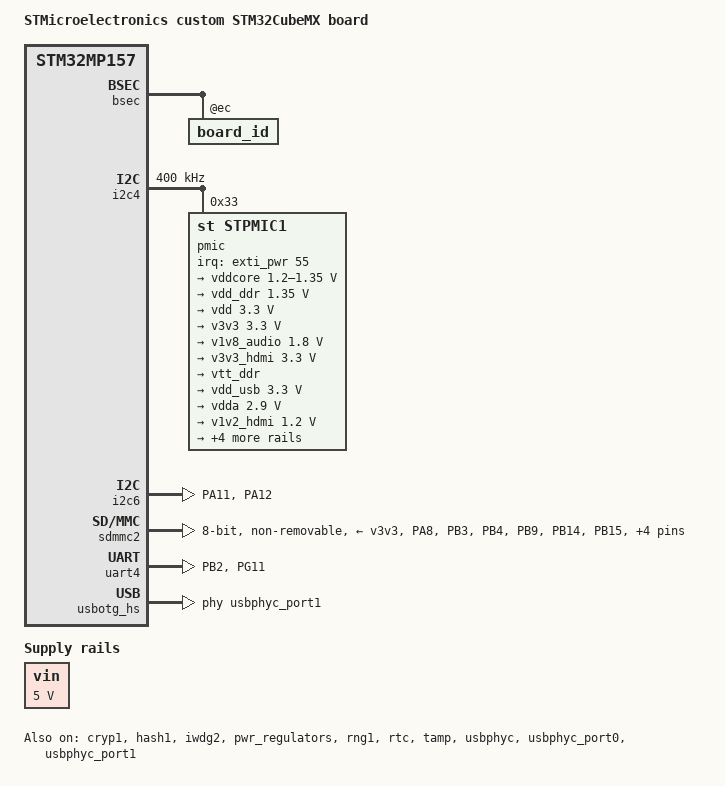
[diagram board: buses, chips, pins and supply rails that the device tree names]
/* SPDX-License-Identifier: (GPL-2.0+ OR BSD-3-Clause) */
/*
 * Copyright (C) STMicroelectronics 2022 - All Rights Reserved
 * Author: STM32CubeMX code generation for STMicroelectronics.
 */

/* For more information on Device Tree configuration, please refer to
 * https://wiki.st.com/stm32mpu/wiki/Category:Device_tree_configuration
 */

/dts-v1/;
#include <dt-bindings/pinctrl/stm32-pinfunc.h>
#include <dt-bindings/clock/stm32mp1-clksrc.h>
#include <dt-bindings/soc/st,stm32-etzpc.h>
#include "stm32mp15-mx.dtsi"

#include "stm32mp157.dtsi"
#include "stm32mp15xc.dtsi"
#include "stm32mp15xxac-pinctrl.dtsi"
#include "stm32mp15-ddr.dtsi"

/* USER CODE BEGIN includes */
#include <dt-bindings/power/stm32mp1-power.h>
/* USER CODE END includes */

/ {
	model = "STMicroelectronics custom STM32CubeMX board";
	compatible = "st,stm32mp157c-v510-dsi-emmc-mx", "st,stm32mp157";

	/* USER CODE BEGIN root */

	vin:vin{
		compatible = "regulator-fixed";
		regulator-name = "vin";
		regulator-min-microvolt = <5000000>;
		regulator-max-microvolt = <5000000>;
		regulator-always-on;
	};
	
	aliases{
		serial0 = &uart4;
		serial1 = &uart5;
		serial2 = &uart7;
	};

	chosen{
		stdout-path = "serial0:115200n8";
	};	

	/* USER CODE END root */

	clocks {
		/* USER CODE BEGIN clocks */
		/* USER CODE END clocks */

		clk_lse: clk-lse {

			/* USER CODE BEGIN clk_lse */
			/* USER CODE END clk_lse */
		};

		clk_hse: clk-hse {
			st,digbypass;

			/* USER CODE BEGIN clk_hse */
			/* USER CODE END clk_hse */
		};
	};

}; /*root*/

&pinctrl {
	i2c6_pins_mx: i2c6_mx-0 {
		pins {
			pinmux = <STM32_PINMUX('A', 11, AF2)>, /* I2C6_SCL */
					 <STM32_PINMUX('A', 12, AF2)>; /* I2C6_SDA */
			bias-disable;
			drive-open-drain;
			slew-rate = <0>;
		};
	};

	sdmmc2_pins_mx: sdmmc2_mx-0 {
		pins1 {
			pinmux = <STM32_PINMUX('A', 8, AF9)>, /* SDMMC2_D4 */
					 <STM32_PINMUX('B', 3, AF9)>, /* SDMMC2_D2 */
					 <STM32_PINMUX('B', 4, AF9)>, /* SDMMC2_D3 */
					 <STM32_PINMUX('B', 9, AF10)>, /* SDMMC2_D5 */
					 <STM32_PINMUX('B', 14, AF9)>, /* SDMMC2_D0 */
					 <STM32_PINMUX('B', 15, AF9)>, /* SDMMC2_D1 */
					 <STM32_PINMUX('C', 7, AF10)>, /* SDMMC2_D7 */
					 <STM32_PINMUX('E', 5, AF9)>, /* SDMMC2_D6 */
					 <STM32_PINMUX('G', 6, AF10)>; /* SDMMC2_CMD */
			bias-pull-up;
			drive-push-pull;
			slew-rate = <3>;
		};
		pins2 {
			pinmux = <STM32_PINMUX('E', 3, AF9)>; /* SDMMC2_CK */
			bias-pull-up;
			drive-push-pull;
			slew-rate = <3>;
		};
	};

	uart4_pins_mx: uart4_mx-0 {
		pins1 {
			pinmux = <STM32_PINMUX('B', 2, AF8)>; /* UART4_RX */
			bias-disable;
		};
		pins2 {
			pinmux = <STM32_PINMUX('G', 11, AF6)>; /* UART4_TX */
			bias-disable;
			drive-push-pull;
			slew-rate = <0>;
		};
	};

	/* USER CODE BEGIN pinctrl */
	/* USER CODE END pinctrl */
};

&pinctrl_z {
	i2c4_pins_z_mx: i2c4_mx-0 {
		pins {
			pinmux = <STM32_PINMUX('Z', 4, AF6)>, /* I2C4_SCL */
					 <STM32_PINMUX('Z', 5, AF6)>; /* I2C4_SDA */
			bias-disable;
			drive-open-drain;
			slew-rate = <0>;
		};
	};

	/* USER CODE BEGIN pinctrl_z */
	/* USER CODE END pinctrl_z */
};

&rcc {
	st,csi-cal;
	st,hsi-cal;
	st,cal-sec = <60>;
	st,clksrc = <
		CLK_MPU_PLL1P
		CLK_AXI_HSI
		CLK_MCU_HSI
		CLK_PLL12_HSI
		CLK_PLL3_HSI
		CLK_PLL4_HSI
		CLK_RTC_LSI
		CLK_MCO1_DISABLED
		CLK_MCO2_DISABLED
	>;
	st,clkdiv = <
		1 		/*MPU*/
		0 		/*AXI*/
		0 		/*MCU*/
		0 		/*APB1*/
		0 		/*APB2*/
		0 		/*APB3*/
		0 		/*APB4*/
		0 		/*APB5*/
		0 		/*RTC*/
		0 		/*MCO1*/
		0 		/*MCO2*/
	>;
	st,pkcs = <
		CLK_CKPER_DISABLED
		CLK_ETH_PLL4P
		CLK_SDMMC12_HCLK6
		CLK_DSI_DSIPLL
		CLK_STGEN_HSI
		CLK_USBPHY_HSE
		CLK_SPI2S1_DISABLED
		CLK_SPI2S23_DISABLED
		CLK_SPI45_DISABLED
		CLK_SPI6_DISABLED
		CLK_I2C46_PCLK5
		CLK_SDMMC3_DISABLED
		CLK_USBO_PLL4R
		CLK_ADC_DISABLED
		CLK_CEC_DISABLED
		CLK_I2C12_DISABLED
		CLK_I2C35_DISABLED
		CLK_UART1_DISABLED
		CLK_UART24_PCLK1
		CLK_UART35_PCLK1
		CLK_UART6_DISABLED
		CLK_UART78_PCLK1
		CLK_SPDIF_DISABLED
		CLK_SAI1_DISABLED
		CLK_SAI2_DISABLED
		CLK_SAI3_DISABLED
		CLK_SAI4_DISABLED
		CLK_RNG1_CSI
		CLK_LPTIM1_DISABLED
		CLK_LPTIM23_PCLK3
		CLK_LPTIM45_DISABLED
	>;
	pll2:st,pll@1 {
		compatible = "st,stm32mp1-pll";
		reg = <1>;
		cfg = < 3 32 1 0 0 PQR(0,1,1) >;
		frac = < 0xa00 >;
	};
	pll4:st,pll@3 {
		compatible = "st,stm32mp1-pll";
		reg = <3>;
		cfg = < 3 24 3 4 0 PQR(1,1,1) >;
	};
};

&bsec{
	status = "okay";
	secure-status = "okay";

	/* USER CODE BEGIN bsec */

	board_id:board_id@ec{
		reg = <0xec 0x4>;
		st,non-secure-otp;
	};
	/* USER CODE END bsec */
};

&cryp1{
	status = "okay";

	/* USER CODE BEGIN cryp1 */
	/* USER CODE END cryp1 */
};

&etzpc{
	st,decprot = <
	/*"Non Secured" peripherals*/
	DECPROT(STM32MP1_ETZPC_CRYP1_ID, DECPROT_NS_RW, DECPROT_UNLOCK)
	DECPROT(STM32MP1_ETZPC_DMA1_ID, DECPROT_NS_RW, DECPROT_UNLOCK)
	DECPROT(STM32MP1_ETZPC_DMAMUX_ID, DECPROT_NS_RW, DECPROT_UNLOCK)
	DECPROT(STM32MP1_ETZPC_ETH_ID, DECPROT_NS_RW, DECPROT_UNLOCK)
	DECPROT(STM32MP1_ETZPC_HASH1_ID, DECPROT_NS_RW, DECPROT_UNLOCK)
	DECPROT(STM32MP1_ETZPC_I2C4_ID, DECPROT_NS_RW, DECPROT_UNLOCK)
	DECPROT(STM32MP1_ETZPC_I2C6_ID, DECPROT_NS_RW, DECPROT_UNLOCK)
	DECPROT(STM32MP1_ETZPC_LPTIM2_ID, DECPROT_NS_RW, DECPROT_UNLOCK)
	DECPROT(STM32MP1_ETZPC_RNG1_ID, DECPROT_NS_RW, DECPROT_UNLOCK)
	DECPROT(STM32MP1_ETZPC_TIM13_ID, DECPROT_NS_RW, DECPROT_UNLOCK)
	DECPROT(STM32MP1_ETZPC_TIM2_ID, DECPROT_NS_RW, DECPROT_UNLOCK)
	DECPROT(STM32MP1_ETZPC_TIM3_ID, DECPROT_NS_RW, DECPROT_UNLOCK)
	DECPROT(STM32MP1_ETZPC_TIM4_ID, DECPROT_NS_RW, DECPROT_UNLOCK)
	DECPROT(STM32MP1_ETZPC_UART4_ID, DECPROT_NS_RW, DECPROT_UNLOCK)
	DECPROT(STM32MP1_ETZPC_UART5_ID, DECPROT_NS_RW, DECPROT_UNLOCK)
	DECPROT(STM32MP1_ETZPC_UART7_ID, DECPROT_NS_RW, DECPROT_UNLOCK)
	DECPROT(STM32MP1_ETZPC_OTG_ID, DECPROT_NS_RW, DECPROT_UNLOCK)
	/*"Secured" peripherals*/
	DECPROT(STM32MP1_ETZPC_DDRCTRL_ID, DECPROT_S_RW, DECPROT_UNLOCK)
	DECPROT(STM32MP1_ETZPC_DDRPHYC_ID, DECPROT_S_RW, DECPROT_UNLOCK)
	DECPROT(STM32MP1_ETZPC_STGENC_ID, DECPROT_S_RW, DECPROT_UNLOCK)
	/*"Mcu Isolation" peripherals*/
	DECPROT(STM32MP1_ETZPC_DMA2_ID, DECPROT_MCU_ISOLATION, DECPROT_UNLOCK)

	/*Restriction: following IDs are not managed  - please to use User-Section if needed:
		STM32MP1_ETZPC_SRAMx_ID, STM32MP1_ETZPC_RETRAM_ID, STM32MP1_ETZPC_BKPSRAM_ID*/

	/* USER CODE BEGIN etzpc_decprot */
		/*STM32CubeMX generates a basic and standard configuration for ETZPC.
		Additional device configurations can be added here if needed.
		"etzpc" node could be also overloaded in "addons" User-Section.*/
	/* USER CODE END etzpc_decprot */
	>;

	secure-status = "okay";

	/* USER CODE BEGIN etzpc */
	/* USER CODE END etzpc */
};

&hash1{
	status = "okay";

	/* USER CODE BEGIN hash1 */
	/* USER CODE END hash1 */
};

&i2c4{
	pinctrl-names = "default";
	pinctrl-0 = <&i2c4_pins_z_mx>;
	status = "okay";
	secure-status = "okay";

	/* USER CODE BEGIN i2c4 */
	i2c-scl-rising-time-ns = <185>;
	i2c-scl-falling-time-ns = <20>;
	clock-frequency = <400000>;

	pmic:stpmic@33{
		compatible = "st,stpmic1";
		reg = <0x33>;
		interrupts-extended = <&exti_pwr 55 IRQ_TYPE_EDGE_FALLING>;
		interrupt-controller;
		#interrupt-cells = <2>;
		status = "okay";
		secure-status = "okay";

		regulators{
			compatible = "st,stpmic1-regulators";
			buck1-supply = <&vin>;
			buck2-supply = <&vin>;
			buck3-supply = <&vin>;
			buck4-supply = <&vin>;
			ldo1-supply = <&v3v3>;
			ldo2-supply = <&vin>;
			ldo3-supply = <&vdd_ddr>;
			ldo4-supply = <&vin>;
			ldo5-supply = <&vin>;
			ldo6-supply = <&v3v3>;
			vref_ddr-supply = <&vin>;
			boost-supply = <&vin>;
			pwr_sw1-supply = <&bst_out>;
			pwr_sw2-supply = <&bst_out>;

			vddcore:buck1{
				regulator-name = "vddcore";
				regulator-min-microvolt = <1200000>;
				regulator-max-microvolt = <1350000>;
				regulator-always-on;
				regulator-initial-mode = <0>;
				regulator-over-current-protection;

				lp-stop{
					regulator-on-in-suspend;
					regulator-suspend-microvolt = <1200000>;
				};

				standby-ddr-sr{
					regulator-off-in-suspend;
				};

				standby-ddr-off{
					regulator-off-in-suspend;
				};
			};

			vdd_ddr:buck2{
				regulator-name = "vdd_ddr";
				regulator-min-microvolt = <1350000>;
				regulator-max-microvolt = <1350000>;
				regulator-always-on;
				regulator-initial-mode = <0>;
				regulator-over-current-protection;

				lp-stop{
					regulator-suspend-microvolt = <1350000>;
					regulator-on-in-suspend;
				};

				standby-ddr-sr{
					regulator-suspend-microvolt = <1350000>;
					regulator-on-in-suspend;
				};

				standby-ddr-off{
					regulator-off-in-suspend;
				};
			};

			vdd:buck3{
				regulator-name = "vdd";
				regulator-min-microvolt = <3300000>;
				regulator-max-microvolt = <3300000>;
				regulator-always-on;
				st,mask-reset;
				regulator-initial-mode = <0>;
				regulator-over-current-protection;

				lp-stop{
					regulator-suspend-microvolt = <3300000>;
					regulator-on-in-suspend;
				};

				standby-ddr-sr{
					regulator-suspend-microvolt = <3300000>;
					regulator-on-in-suspend;
				};

				standby-ddr-off{
					regulator-suspend-microvolt = <3300000>;
					regulator-on-in-suspend;
				};
			};

			v3v3:buck4{
				regulator-name = "v3v3";
				regulator-min-microvolt = <3300000>;
				regulator-max-microvolt = <3300000>;
				regulator-always-on;
				regulator-over-current-protection;
				regulator-initial-mode = <0>;

				lp-stop{
					regulator-suspend-microvolt = <3300000>;
					regulator-on-in-suspend;
				};

				standby-ddr-sr{
					regulator-off-in-suspend;
				};

				standby-ddr-off{
					regulator-off-in-suspend;
				};
			};

			v1v8_audio:ldo1{
				regulator-name = "v1v8_audio";
				regulator-min-microvolt = <1800000>;
				regulator-max-microvolt = <1800000>;
				regulator-always-on;

				standby-ddr-sr{
					regulator-off-in-suspend;
				};

				standby-ddr-off{
					regulator-off-in-suspend;
				};
			};

			v3v3_hdmi:ldo2{
				regulator-name = "v3v3_hdmi";
				regulator-min-microvolt = <3300000>;
				regulator-max-microvolt = <3300000>;
				regulator-always-on;

				standby-ddr-sr{
					regulator-off-in-suspend;
				};

				standby-ddr-off{
					regulator-off-in-suspend;
				};
			};

			vtt_ddr:ldo3{
				regulator-name = "vtt_ddr";
				regulator-always-on;
				regulator-over-current-protection;
				st,regulator-sink-source;

				lp-stop{
					regulator-off-in-suspend;
				};

				standby-ddr-sr{
					regulator-off-in-suspend;
				};

				standby-ddr-off{
					regulator-off-in-suspend;
				};
			};

			vdd_usb:ldo4{
				regulator-name = "vdd_usb";
				regulator-min-microvolt = <3300000>;
				regulator-max-microvolt = <3300000>;

				standby-ddr-sr{
					regulator-off-in-suspend;
				};

				standby-ddr-off{
					regulator-off-in-suspend;
				};
			};

			vdda:ldo5{
				regulator-name = "vdda";
				regulator-min-microvolt = <2900000>;
				regulator-max-microvolt = <2900000>;
				regulator-boot-on;

				standby-ddr-sr{
					regulator-off-in-suspend;
				};

				standby-ddr-off{
					regulator-off-in-suspend;
				};
			};

			v1v2_hdmi:ldo6{
				regulator-name = "v1v2_hdmi";
				regulator-min-microvolt = <1200000>;
				regulator-max-microvolt = <1200000>;
				regulator-always-on;

				standby-ddr-sr{
					regulator-off-in-suspend;
				};

				standby-ddr-off{
					regulator-off-in-suspend;
				};
			};

			vref_ddr:vref_ddr{
				regulator-name = "vref_ddr";
				regulator-always-on;

				lp-stop{
					regulator-on-in-suspend;
				};

				standby-ddr-sr{
					regulator-on-in-suspend;
				};

				standby-ddr-off{
					regulator-off-in-suspend;
				};
			};

			bst_out:boost{
				regulator-name = "bst_out";
			};

			vbus_otg:pwr_sw1{
				regulator-name = "vbus_otg";
			};

			vbus_sw:pwr_sw2{
				regulator-name = "vbus_sw";
				regulator-active-discharge = <1>;
			};
		};
	};
	/* USER CODE END i2c4 */
};

&i2c6{
	pinctrl-names = "default";
	pinctrl-0 = <&i2c6_pins_mx>;
	status = "okay";
	secure-status = "okay";

	/* USER CODE BEGIN i2c6 */
	/* USER CODE END i2c6 */
};

&iwdg2{
	status = "okay";
	secure-status = "okay";

	/* USER CODE BEGIN iwdg2 */
	timeout-sec = <32>;
	secure-timeout-sec = <5>;
	/* USER CODE END iwdg2 */
};

&pwr_regulators{
	status = "okay";
	secure-status = "okay";

	/* USER CODE BEGIN pwr_regulators */
	system_suspend_supported_soc_modes = <
		STM32_PM_CSLEEP_RUN
		STM32_PM_CSTOP_ALLOW_LP_STOP
		STM32_PM_CSTOP_ALLOW_STANDBY_DDR_SR
	>;
	system_off_soc_mode = <STM32_PM_CSTOP_ALLOW_STANDBY_DDR_OFF>;
	vdd-supply = <&vdd>;
	vdd_3v3_usbfs-supply = <&vdd_usb>;
	/* USER CODE END pwr_regulators */
};

&rcc{
	status = "okay";
	secure-status = "okay";

	/* USER CODE BEGIN rcc */
	/* USER CODE END rcc */
};

&rng1{
	status = "okay";
	secure-status = "okay";

	/* USER CODE BEGIN rng1 */
	/* USER CODE END rng1 */
};

&rtc{
	status = "okay";
	secure-status = "okay";

	/* USER CODE BEGIN rtc */
	/* USER CODE END rtc */
};

&sdmmc2{
	pinctrl-names = "default";
	pinctrl-0 = <&sdmmc2_pins_mx>;
	status = "okay";

	/* USER CODE BEGIN sdmmc2 */

	non-removable;
	no-sd;
	no-sdio;
	st,neg-edge;
	bus-width = <8>;
	vmmc-supply = <&v3v3>;
	vqmmc-supply = <&vdd>;
	mmc-ddr-3_3v;
	
	/* USER CODE END sdmmc2 */
};

&tamp{
	status = "okay";
	secure-status = "okay";

	/* USER CODE BEGIN tamp */
	/* USER CODE END tamp */
};

&uart4{
	pinctrl-names = "default";
	pinctrl-0 = <&uart4_pins_mx>;
	status = "okay";

	/* USER CODE BEGIN uart4 */
	/* USER CODE END uart4 */
};

&usbotg_hs{
	status = "okay";

	/* USER CODE BEGIN usbotg_hs */
	phys = <&usbphyc_port1 0>;
	phy-names = "usb2-phy";
	usb-role-switch;
	/* USER CODE END usbotg_hs */
};

&usbphyc{
	status = "okay";

	/* USER CODE BEGIN usbphyc */
	/* USER CODE END usbphyc */
};

&usbphyc_port0{
	status = "okay";

	/* USER CODE BEGIN usbphyc_port0 */
	phy-supply = <&vdd_usb>;
	/* USER CODE END usbphyc_port0 */
};

&usbphyc_port1{
	status = "okay";

	/* USER CODE BEGIN usbphyc_port1 */
	phy-supply = <&vdd_usb>;
	/* USER CODE END usbphyc_port1 */
};

/* USER CODE BEGIN addons */
&cpu0{
	cpu-supply = <&vddcore>;
};

&cpu1{
	cpu-supply = <&vddcore>;
};
/* USER CODE END addons */

